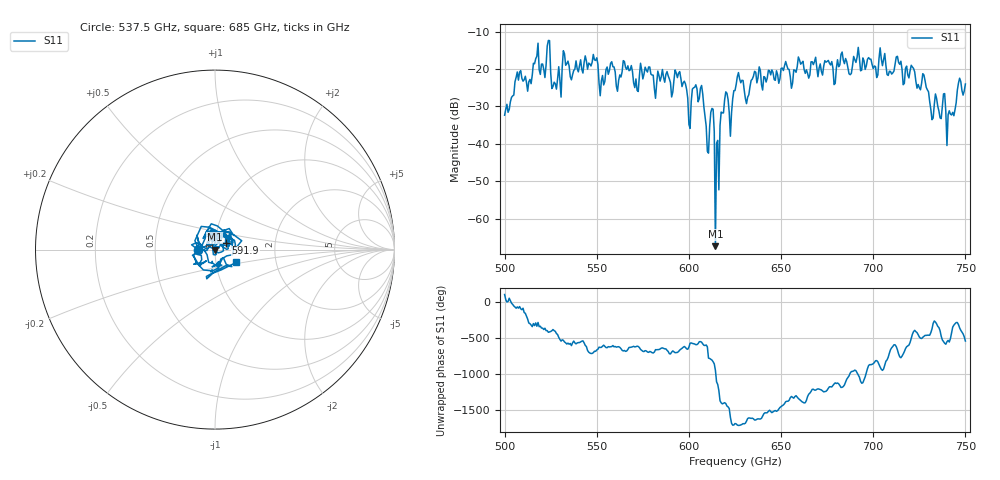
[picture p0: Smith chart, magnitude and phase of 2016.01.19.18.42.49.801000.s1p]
!Created with skrf (http://scikit-rf.org).
# GHz S RI R 50.0
!freq ReS11 ImS11
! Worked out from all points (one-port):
!   401 points, 500 GHz to 750 GHz, reference 50 ohm
!   lowest |S11| = -67.3 dB at 614.4 GHz (marker M1), VSWR 1.00, Z = 50 + j0.0321 ohm
!   |S11| at or under -10 dB: start of sweep to end of sweep
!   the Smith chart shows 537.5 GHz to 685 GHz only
!   S11 on the Smith chart (normalised r, x): 537.5 GHz: 0.83, -0.00; 591.9 GHz: 1.13, +0.08; 685 GHz: 1.25, -0.18
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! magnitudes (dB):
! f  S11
! 500 GHz  -32.3
! 516.9 GHz  -17.2
! 520.6 GHz  -18.6
! 523.8 GHz  -12.3
! 526.9 GHz  -23.5
! 531.2 GHz  -19.6
! 537.5 GHz  -20.4
! 548.8 GHz  -17.5
! 552.5 GHz  -23.1
! 558.1 GHz  -18.0
! 562.5 GHz  -21.6
! 591.9 GHz  -23.0
! 593.8 GHz  -22.3
! 600 GHz  -34.8
! 606.9 GHz  -24.4
! 610 GHz  -42.0
! 612.5 GHz  -30.5
! 614.4 GHz  -67.3
! 615.6 GHz  -39.1
! 618.8 GHz  -31.7
! 622.5 GHz  -37.9
! 625 GHz  -25.7
! 656.2 GHz  -23.7
! 685 GHz  -17.2
! 687.5 GHz  -21.5
! 718.8 GHz  -21.6
! 741.2 GHz  -31.1
! 750 GHz  -24.0
